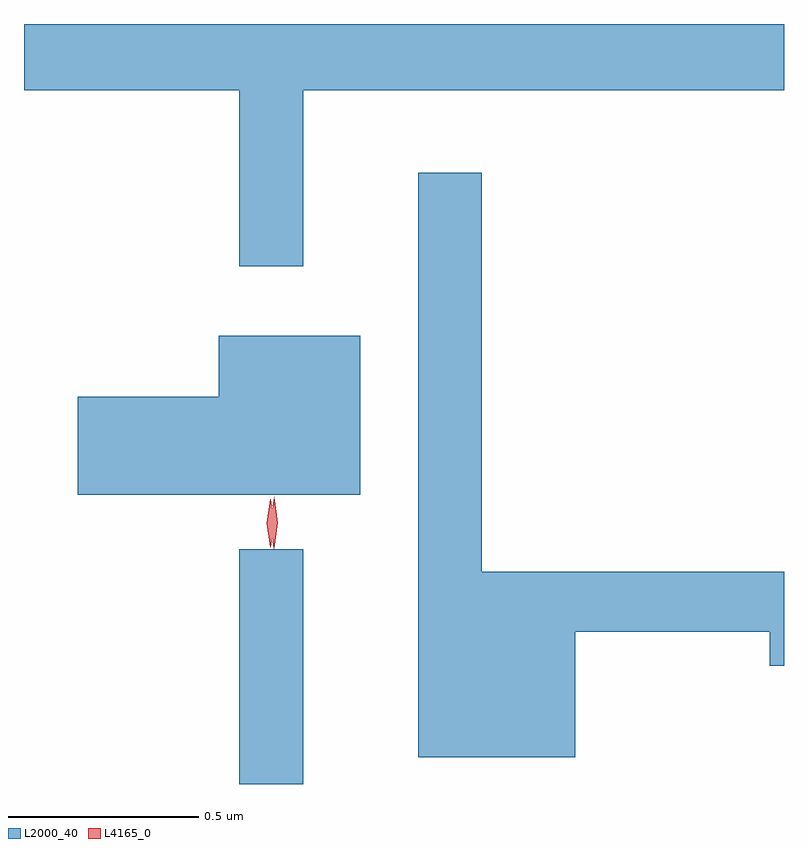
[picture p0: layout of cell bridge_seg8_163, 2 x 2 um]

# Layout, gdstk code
import gdstk
lib = gdstk.Library(unit=1e-6, precision=1e-09)
def R(c, l, rs):  # rectangles x0, y0, x1, y1
    for r in rs: c.add(gdstk.rectangle(r[:2], r[2:], *l))
def P(c, l, *ps):  # polygons
    for p in ps: c.add(gdstk.Polygon(p, *l))
L2000_40 = (2000, 40)
L4165_0 = (4165, 0)

bridge_seg8_163 = lib.new_cell('bridge_seg8_163')
R(bridge_seg8_163, L2000_40, [(1423.401,1918.95,1423.569,1919.568)])
P(bridge_seg8_163, L2000_40, [(1423.569,1920.776),(1424.834,1920.776),(1424.834,1920.95),(1422.834,1920.95),(1422.834,1920.776),(1423.401,1920.776),(1423.401,1920.313),(1423.569,1920.313)],
  [(1424.284,1919.351),(1424.796,1919.351),(1424.796,1919.261),(1424.834,1919.261),(1424.834,1919.509),(1424.039,1919.509),(1424.039,1920.558),(1423.871,1920.558),(1423.871,1919.021),(1424.284,1919.021)],
  [(1423.719,1920.129),(1423.346,1920.129),(1423.346,1919.969),(1422.976,1919.969),(1422.976,1919.711),(1423.719,1919.711)])
P(bridge_seg8_163, L4165_0, [(1423.491,1919.569),(1423.491,1919.57),(1423.482,1919.638),(1423.492,1919.705),(1423.493,1919.706),(1423.493,1919.705),(1423.502,1919.638),(1423.492,1919.57)],
  [(1423.482,1919.573),(1423.473,1919.636),(1423.482,1919.699),(1423.483,1919.7),(1423.483,1919.699),(1423.493,1919.636),(1423.483,1919.573),(1423.483,1919.573)])

lib.write_gds('bridge_seg8_163.gds')
